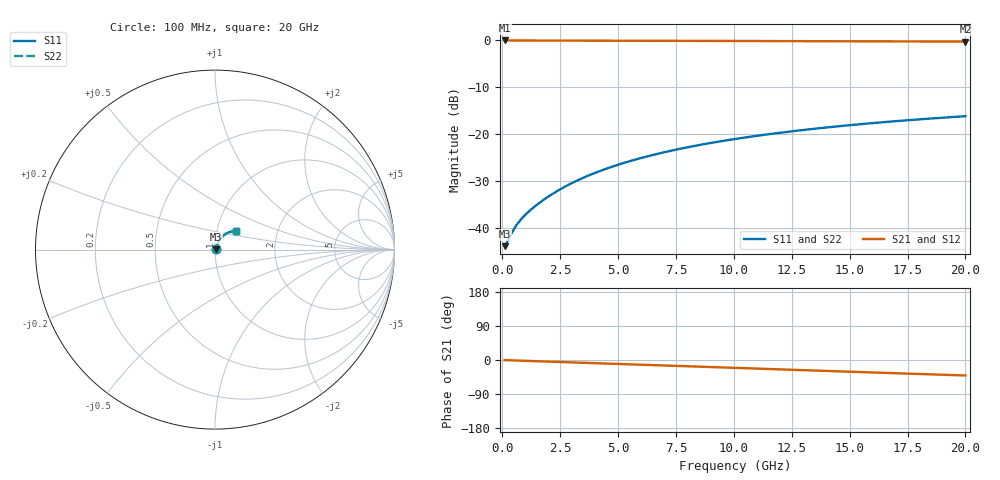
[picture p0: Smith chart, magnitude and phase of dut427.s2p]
! Touchstone file exported from HFSS 2026.1.0
!  File:  C:/ffzhzh/LocalFiles/Ansys_Project_Files/temp_train_TMRDL_427_1783005388_55676.aedt
!  Generated:  11:17:39 PM Jul  2, 2026
!  Design:  TMRDL
!  Project:  temp_train_TMRDL_427_1783005388_55676
! Variables:
!  h_bsmrdl = 2um
!  h_ox = 20um
!  h_rdl = 5um
!  h_sub = 80um
!  h_tmrdl = 2.57um
!  h_tsv = 80um
!  h_via = 3um
!  l_bsmrdl = 300um
!  l_sub = 1115.02um
!  l_tmrdl = 715.02um
!  m_sub = 200um
!  pitch = 21.77um
!  r_tsv = 6um
!  s_tmrdl = 10um
!  w_bsmrdl = 18um
!  w_sub = 500um
!  w_tmrdl = 16.01um
!  x_tsv_center1 = 723.025um
!  x_tsv_center2 = 1041.025um
!  x_tsv_center3 = 1772.055um
!  x_tsv_center4 = 2090.055um
!  x_tsv_center5 = 2821.085um
!  x_tsv_center6 = 3139.085um
# GHz S MA R 50.000000
! Terminal data exported
! Port[1] = TM_RDL1_1_T1
! Port[2] = TM_RDL1_1_T2
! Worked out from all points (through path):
!   200 points, 100 MHz to 20 GHz, reference 50 ohm
!   highest |S21| = -0.05 dB at 100 MHz (marker M1); lowest = -0.3 dB at 20 GHz (marker M2)
!   group delay of S21, straight-line fit = 5.66 ps
!   lowest |S11| = -43.8 dB at 100 MHz (marker M3), VSWR 1.01, Z = 50.6 + j0.143 ohm
!   |S11| at or under -10 dB: start of sweep to end of sweep
!   |S22| runs from -43.8 to -16.1 dB; largest |S21 - S12| = 2.2e-15
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0.1  0.006463 12.6  0.9937 -0.2  0.9937 -0.2  0.006463 12.6
! Gamma 0 0 0 0
! Port Impedance 50 0 50 0
0.2  0.007089 22.9  0.9935 -0.5  0.9935 -0.5  0.007089 22.9
0.4  0.008867 35.5  0.9929 -0.9  0.9929 -0.9  0.008867 35.5
0.6  0.0107 42.0  0.9922 -1.4  0.9922 -1.4  0.0107 42.0
0.7  0.01156 44.2  0.9919 -1.6  0.9919 -1.6  0.01156 44.2
0.9  0.01319 47.8  0.9914 -2.0  0.9914 -2.0  0.01319 47.8
1.2  0.01553 52.1  0.9909 -2.6  0.9909 -2.6  0.01553 52.1
1.7  0.01945 57.3  0.9904 -3.6  0.9904 -3.6  0.01945 57.3
2.2  0.0235 60.8  0.99 -4.7  0.99 -4.7  0.0235 60.8
2.8  0.02851 63.4  0.9896 -5.9  0.9896 -5.9  0.02852 63.4
3.5  0.0345 65.0  0.989 -7.4  0.989 -7.4  0.0345 65.0
4.2  0.04054 65.7  0.9884 -8.8  0.9884 -8.8  0.04054 65.7
5  0.04744 65.8  0.9876 -10.5  0.9876 -10.5  0.04745 65.8
5.9  0.05515 65.3  0.9867 -12.4  0.9867 -12.4  0.05517 65.2
6.8  0.06277 64.4  0.9856 -14.2  0.9856 -14.2  0.06279 64.3
8.4  0.07598 62.2  0.9835 -17.5  0.9835 -17.5  0.076 62.2
10.1  0.08947 59.5  0.9811 -21.0  0.9811 -21.0  0.08951 59.4
11.7  0.1016 56.7  0.9786 -24.3  0.9786 -24.3  0.1017 56.7
13.4  0.1139 53.7  0.976 -27.7  0.976 -27.7  0.114 53.6
15  0.1249 50.7  0.9735 -30.9  0.9735 -30.9  0.125 50.7
16.7  0.136 47.6  0.9709 -34.3  0.9709 -34.3  0.1361 47.6
20  0.1557 41.6  0.9661 -40.8  0.9661 -40.8  0.1558 41.5
